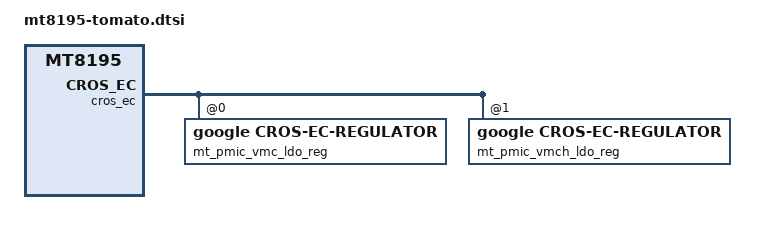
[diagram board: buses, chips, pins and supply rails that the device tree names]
// SPDX-License-Identifier: (GPL-2.0 OR MIT)
/*
 * Copyright (C) 2021 MediaTek Inc.
 */

&cros_ec {
	mt_pmic_vmc_ldo_reg: regulator@0 {
		compatible = "google,cros-ec-regulator";
		regulator-min-microvolt = <1200000>;
		regulator-max-microvolt = <3600000>;
		reg = <0>;
	};
	mt_pmic_vmch_ldo_reg: regulator@1 {
		compatible = "google,cros-ec-regulator";
		regulator-min-microvolt = <2700000>;
		regulator-max-microvolt = <3600000>;
		reg = <1>;
	};
};
